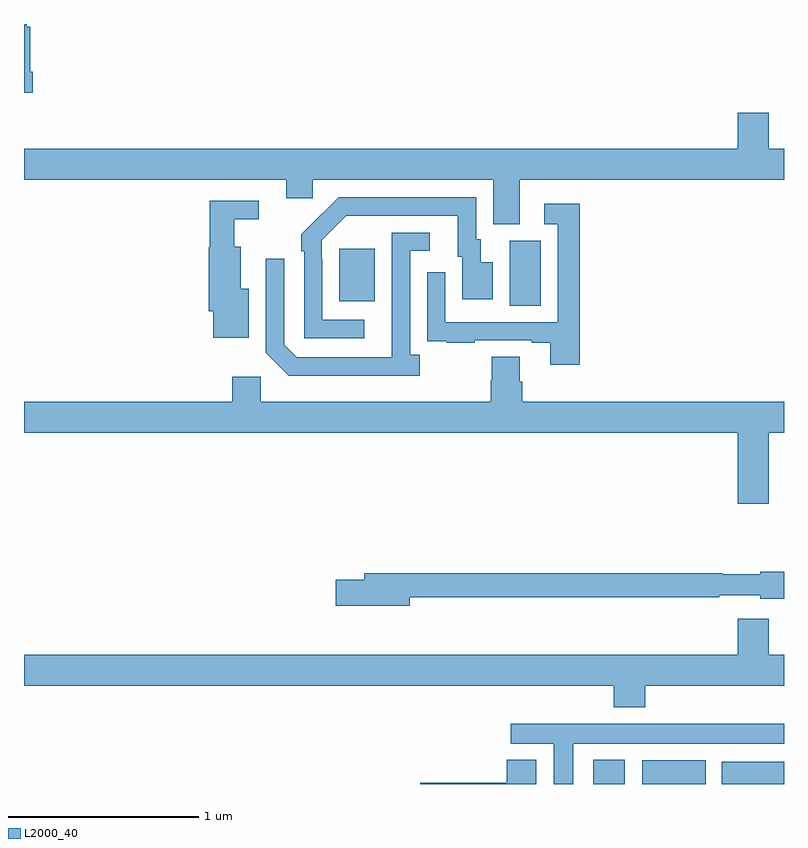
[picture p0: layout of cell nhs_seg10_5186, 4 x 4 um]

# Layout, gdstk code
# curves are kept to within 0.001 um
import gdstk
lib = gdstk.Library(unit=1e-6, precision=1e-09)
def R(c, l, rs):  # rectangles x0, y0, x1, y1
    for r in rs: c.add(gdstk.rectangle(r[:2], r[2:], *l))
def P(c, l, *ps):  # polygons
    for p in ps: c.add(gdstk.Polygon(p, *l))
L2000_40 = (2000, 40)

nhs_seg10_5186 = lib.new_cell('nhs_seg10_5186')
R(nhs_seg10_5186, L2000_40, [(415.997,1266.5,416.161,1266.628), (416.255,1266.5,416.587,1266.625), (416.672,1266.5,417,1266.616), (415.556,1269.016,415.72,1269.36), (414.659,1269.041,414.847,1269.316)])
P(nhs_seg10_5186, L2000_40, [(413.045,1270.249),(413.032,1270.249),(413.032,1270.485),(413.014,1270.485),(413.014,1270.5),(413,1270.5),(413,1270.137),(413.045,1270.137)],
  [(415.609,1269.68),(417,1269.68),(417,1269.844),(416.92,1269.844),(416.92,1270.033),(416.756,1270.033),(416.756,1269.844),(413,1269.844),(413,1269.68),(414.38,1269.68),(414.38,1269.582),(414.519,1269.582),(414.519,1269.68),(415.469,1269.68),(415.469,1269.445),(415.609,1269.445)],
  [(414.79,1268.943),(414.57,1268.943),(414.57,1269.263),(414.567,1269.263),(414.567,1269.363),(414.696,1269.492),(415.283,1269.492),(415.283,1269.276),(415.307,1269.276),(415.307,1269.051),(415.468,1269.051),(415.468,1269.247),(415.405,1269.247),(415.405,1269.366),(415.38,1269.366),(415.38,1269.588),(414.656,1269.588),(414.459,1269.393),(414.459,1269.305),(414.474,1269.305),(414.474,1268.847),(414.79,1268.847)],
  [(414.184,1269.106),(414.142,1269.106),(414.142,1269.328),(414.106,1269.328),(414.106,1269.473),(414.235,1269.473),(414.235,1269.57),(413.977,1269.57),(413.977,1269.324),(413.972,1269.324),(413.972,1268.988),(413.996,1268.988),(413.996,1268.849),(414.184,1268.849)],
  [(415.925,1269.553),(415.737,1269.553),(415.737,1269.447),(415.809,1269.447),(415.809,1268.931),(415.218,1268.931),(415.218,1269.193),(415.122,1269.193),(415.122,1268.938),(415.123,1268.938),(415.123,1268.829),(415.225,1268.829),(415.225,1268.823),(415.373,1268.823),(415.373,1268.835),(415.673,1268.835),(415.673,1268.823),(415.769,1268.823),(415.769,1268.706),(415.925,1268.706)],
  [(415.084,1268.758),(415.032,1268.758),(415.032,1269.306),(415.135,1269.306),(415.135,1269.402),(414.936,1269.402),(414.935,1268.745),(414.435,1268.745),(414.369,1268.811),(414.369,1269.265),(414.273,1269.265),(414.273,1268.769),(414.394,1268.648),(415.084,1268.648)],
  [(416.92,1268.348),(417,1268.348),(417,1268.512),(415.622,1268.512),(415.622,1268.618),(415.609,1268.618),(415.609,1268.75),(415.462,1268.75),(415.462,1268.625),(415.457,1268.625),(415.457,1268.512),(414.246,1268.512),(414.246,1268.644),(414.095,1268.644),(414.095,1268.512),(413,1268.512),(413,1268.348),(416.756,1268.348),(416.756,1267.974),(416.92,1267.974)],
  [(415.03,1267.482),(416.66,1267.482),(416.66,1267.494),(416.874,1267.494),(416.874,1267.474),(417,1267.474),(417,1267.616),(416.874,1267.616),(416.874,1267.603),(416.674,1267.603),(416.674,1267.61),(414.791,1267.61),(414.791,1267.574),(414.642,1267.574),(414.642,1267.439),(415.03,1267.439)],
  [(416.27,1267.016),(417,1267.016),(417,1267.18),(416.92,1267.18),(416.92,1267.369),(416.756,1267.369),(416.756,1267.18),(413,1267.18),(413,1267.016),(416.105,1267.016),(416.105,1266.905),(416.27,1266.905)],
  [(415.891,1266.713),(417,1266.713),(417,1266.817),(415.563,1266.817),(415.563,1266.713),(415.787,1266.713),(415.787,1266.5),(415.891,1266.5)],
  [(415.696,1266.628),(415.541,1266.628),(415.541,1266.506),(415.086,1266.506),(415.086,1266.5),(415.696,1266.5)])

lib.write_gds('nhs_seg10_5186.gds')
